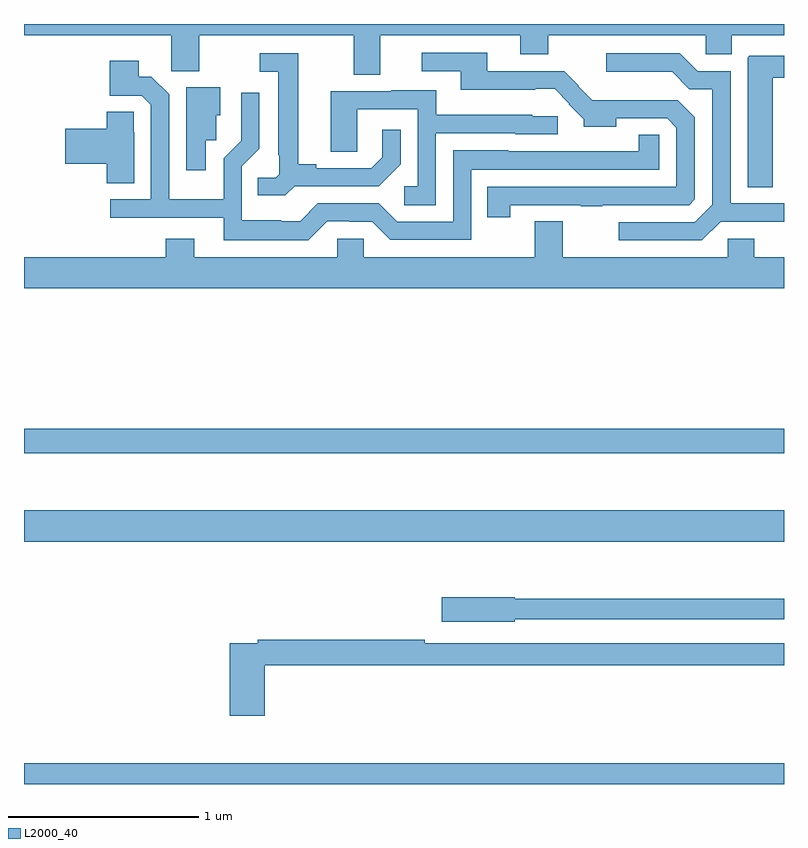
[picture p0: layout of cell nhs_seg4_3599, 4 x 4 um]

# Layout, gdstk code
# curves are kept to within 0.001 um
import gdstk
lib = gdstk.Library(unit=1e-6, precision=1e-09)
def R(c, l, rs):  # rectangles x0, y0, x1, y1
    for r in rs: c.add(gdstk.rectangle(r[:2], r[2:], *l))
def P(c, l, *ps):  # polygons
    for p in ps: c.add(gdstk.Polygon(p, *l))
L2000_40 = (2000, 40)

nhs_seg4_3599 = lib.new_cell('nhs_seg4_3599')
R(nhs_seg4_3599, L2000_40, [(301,772.9,305,773.008), (301,774.176,305,774.34), (301,774.642,305,774.77)])
P(nhs_seg4_3599, L2000_40, [(302.875,776.84),(303.611,776.84),(303.611,776.741),(303.759,776.741),(303.759,776.84),(304.587,776.84),(304.587,776.742),(304.726,776.742),(304.726,776.84),(305,776.84),(305,776.9),(301,776.9),(301,776.84),(301.776,776.84),(301.776,776.651),(301.923,776.651),(301.923,776.84),(302.735,776.84),(302.735,776.632),(302.875,776.632)],
  [(303.558,775.947),(303.931,775.947),(303.931,775.942),(304.043,775.942),(304.043,775.947),(304.5,775.947),(304.53,775.977),(304.53,776.409),(304.441,776.498),(304.325,776.498),(304.325,776.5),(303.991,776.5),(303.917,776.573),(303.919,776.575),(303.843,776.652),(303.439,776.652),(303.439,776.748),(303.093,776.748),(303.093,776.652),(303.299,776.652),(303.299,776.555),(303.692,776.555),(303.692,776.558),(303.794,776.558),(303.87,776.481),(303.867,776.478),(303.946,776.4),(303.946,776.36),(304.117,776.36),(304.117,776.403),(304.386,776.403),(304.434,776.355),(304.434,776.043),(303.439,776.043),(303.439,775.884),(303.558,775.884)],
  [(302.424,776.046),(302.866,776.046),(302.982,776.162),(302.982,776.344),(302.885,776.344),(302.885,776.199),(302.828,776.142),(302.539,776.142),(302.539,776.162),(302.443,776.162),(302.443,776.745),(302.241,776.745),(302.241,776.649),(302.339,776.649),(302.339,776.209),(302.343,776.209),(302.343,776.109),(302.325,776.091),(302.23,776.091),(302.23,775.999),(302.376,775.999)],
  [(304.666,775.86),(305,775.86),(305,775.956),(304.719,775.956),(304.719,776.652),(304.545,776.652),(304.452,776.745),(304.065,776.745),(304.065,776.648),(304.411,776.648),(304.502,776.557),(304.623,776.557),(304.623,775.95),(304.53,775.857),(304.131,775.857),(304.131,775.761),(304.567,775.761)],
  [(304.942,776.617),(305,776.617),(305,776.733),(304.818,776.733),(304.808,776.723),(304.808,776.041),(304.942,776.041)],
  [(302.595,775.863),(302.712,775.863),(302.712,775.86),(302.832,775.86),(302.928,775.764),(303.354,775.764),(303.354,776.133),(304.344,776.133),(304.344,776.318),(304.236,776.318),(304.236,776.23),(303.549,776.229),(303.549,776.236),(303.258,776.236),(303.258,775.86),(302.964,775.86),(302.868,775.956),(302.547,775.956),(302.454,775.863),(302.354,775.863),(302.354,775.867),(302.145,775.867),(302.145,776.151),(302.238,776.244),(302.238,776.539),(302.144,776.539),(302.144,776.286),(302.052,776.194),(302.052,775.978),(301.764,775.978),(301.764,776.529),(301.671,776.622),(301.603,776.622),(301.603,776.707),(301.451,776.707),(301.451,776.523),(301.62,776.523),(301.668,776.475),(301.668,775.977),(301.455,775.977),(301.455,775.881),(302.051,775.881),(302.051,775.763),(302.495,775.763)],
  [(301.957,776.289),(302.013,776.289),(302.013,776.421),(302.032,776.421),(302.032,776.566),(301.853,776.566),(301.853,776.13),(301.957,776.13)],
  [(303.168,776.325),(303.585,776.325),(303.585,776.319),(303.81,776.319),(303.81,776.415),(303.675,776.415),(303.675,776.422),(303.169,776.422),(303.169,776.551),(302.933,776.551),(302.933,776.547),(302.615,776.547),(302.615,776.227),(302.754,776.227),(302.754,776.451),(303.072,776.451),(303.072,776.046),(303,776.046),(303,775.945),(303.168,775.945)],
  [(301.579,776.33),(301.578,776.33),(301.578,776.438),(301.436,776.438),(301.436,776.348),(301.218,776.348),(301.218,776.165),(301.436,776.165),(301.436,776.062),(301.579,776.062)],
  [(305,775.672),(304.843,775.672),(304.843,775.77),(304.704,775.77),(304.704,775.672),(303.835,775.672),(303.835,775.862),(303.688,775.862),(303.688,775.672),(302.787,775.672),(302.787,775.77),(302.649,775.77),(302.649,775.672),(301.897,775.672),(301.897,775.771),(301.745,775.771),(301.745,775.672),(301,775.672),(301,775.508),(305,775.508)],
  [(303.582,773.766),(305,773.766),(305,773.875),(303.582,773.875),(303.582,773.883),(303.198,773.883),(303.198,773.753),(303.582,773.753)],
  [(302.267,773.524),(305,773.524),(305,773.64),(303.11,773.64),(303.11,773.66),(302.23,773.66),(302.23,773.64),(302.084,773.64),(302.084,773.259),(302.267,773.259)])

lib.write_gds('nhs_seg4_3599.gds')
